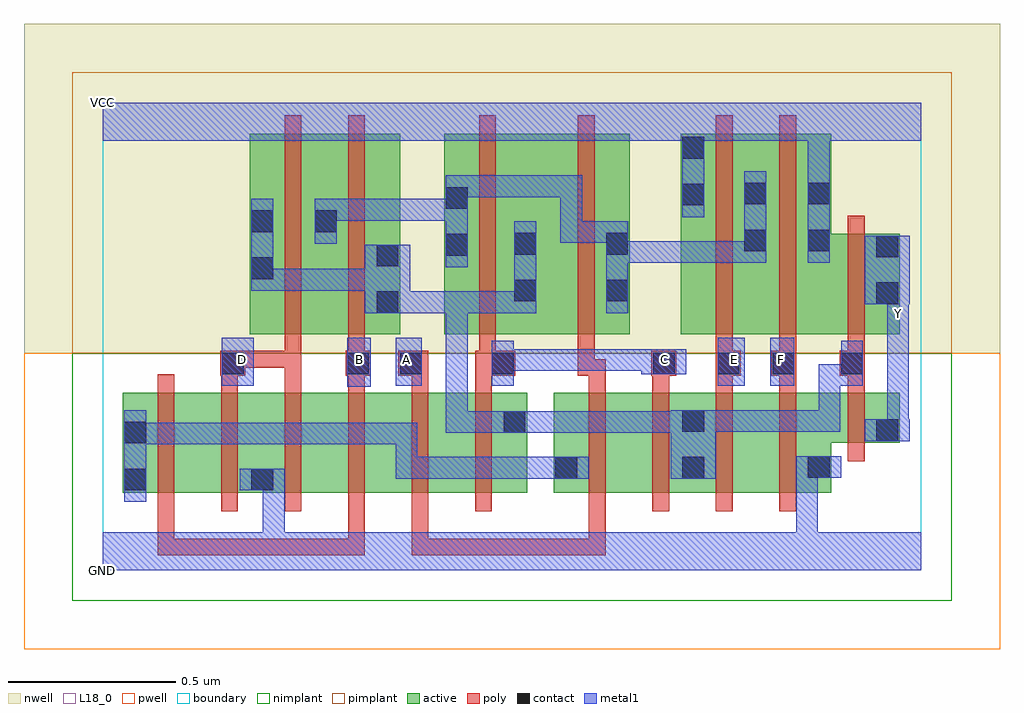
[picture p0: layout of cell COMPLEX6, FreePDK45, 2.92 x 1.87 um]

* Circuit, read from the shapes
.subckt COMPLEX6 A B C D E F GND VCC Y
M1 n1 B n2 VSUBS nfet w=0.3u l=0.05u
M2 GND D n1 VSUBS nfet w=0.3u l=0.05u
M3 n3 D GND VSUBS nfet w=0.3u l=0.05u
M4 n4 B n3 VSUBS nfet w=0.3u l=0.05u
M5 n5 A n4 VSUBS nfet w=0.3u l=0.05u
M6 n6 C n5 VSUBS nfet w=0.3u l=0.05u
M7 n7 A n2 VSUBS nfet w=0.3u l=0.05u
M8 n6 C n7 VSUBS nfet w=0.3u l=0.05u
M9 n8 E n6 VSUBS nfet w=0.3u l=0.05u
M10 GND F n8 VSUBS nfet w=0.3u l=0.05u
M11 Y n6 GND VSUBS nfet w=0.15u l=0.05u
M12 n9 D n6 n10 pfet w=0.6u l=0.05u
M13 n6 B n9 n10 pfet w=0.6u l=0.05u
M14 n6 C n9 n10 pfet w=0.6u l=0.05u
M15 n9 A n6 n10 pfet w=0.6u l=0.05u
M16 n9 E VCC n10 pfet w=0.6u l=0.05u
M17 VCC F n9 n10 pfet w=0.6u l=0.05u
M18 Y n6 VCC n10 pfet w=0.3u l=0.05u
.ends

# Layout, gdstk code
import gdstk
lib = gdstk.Library(unit=1e-6, precision=1e-09)
def R(c, l, rs):  # rectangles x0, y0, x1, y1
    for r in rs: c.add(gdstk.rectangle(r[:2], r[2:], *l))
def A(c, l, x, y, w, h, nx, ny, dx, dy):  # array of equal rectangles
    R(c, l, [(x+i*dx, y+j*dy, x+i*dx+w, y+j*dy+h) for i in range(nx) for j in range(ny)])
active = (1, 0)
pwell = (2, 0)
nwell = (3, 0)
nimplant = (4, 0)
pimplant = (5, 0)
poly = (9, 0)
contact = (10, 0)
metal1 = (11, 0)
L18_0 = (18, 0)
boundary = (235, 0)

complex6 = lib.new_cell('COMPLEX6')
R(complex6, active, [(0.06,0.232,0.285,0.532), (0.06,0.232,0.135,0.532), (0.285,0.232,0.515,0.532), (0.44,0.232,0.665,0.532), (0.44,0.232,0.515,0.517), (0.665,0.232,0.855,0.532), (0.855,0.232,1.045,0.532), (1.045,0.232,1.27,0.532), (1.35,0.232,1.575,0.532), (1.575,0.232,1.805,0.532), (1.73,0.232,1.955,0.532), (1.955,0.232,2.18,0.532), (2.105,0.232,2.18,0.382), (1.35,0.257,1.425,0.532), (1.73,0.27,1.805,0.532), (1.195,0.295,1.27,0.532), (2.105,0.382,2.385,0.532), (2.31,0.382,2.385,0.532), (0.44,0.707,0.705,1.307), (0.44,0.707,0.515,1.2), (0.63,0.707,0.705,1.2), (0.63,0.707,0.89,1.307), (0.815,0.707,0.89,1.07), (1.022,0.707,1.097,1.2), (1.022,0.707,1.302,1.307), (1.227,0.707,1.577,1.307), (1.227,0.707,1.302,1.07), (1.502,0.707,1.577,1.2), (1.73,0.707,1.805,1.307), (1.73,0.707,1.99,1.307), (1.915,0.707,2.18,1.307), (1.915,0.707,1.99,1.2), (2.105,0.707,2.385,1.007), (2.105,0.707,2.18,1.307), (2.31,0.707,2.385,1.007)])
R(complex6, pwell, [(-0.235,-0.235,2.685,0.65)])
R(complex6, nwell, [(-0.235,0.65,2.685,1.635)])
R(complex6, nimplant, [(-0.09,-0.09,2.54,0.65)])
R(complex6, pimplant, [(-0.09,0.65,2.54,1.49)])
A(complex6, poly, 0.165, 0.177, 0.05, 0.41, 6, 1, 0.19, 0)
A(complex6, poly, 1.455, 0.177, 0.05, 0.41, 4, 1, 0.19, 0)
A(complex6, poly, 0.735, 0.537, 0.05, 0.095, 3, 1, 0.19, 0)
A(complex6, poly, 1.455, 0.537, 0.05, 0.095, 4, 1, 0.19, 0)
R(complex6, poly, [(0.165,0.045,0.215,0.227), (0.165,0.045,0.215,0.095), (0.165,0.045,0.215,0.095), (0.165,0.045,0.215,0.095), (0.165,0.045,0.427,0.095), (0.377,0.045,0.427,0.095), (0.377,0.045,0.56,0.095), (0.51,0.045,0.56,0.095), (0.51,0.045,0.56,0.095), (0.51,0.045,0.56,0.095), (0.51,0.045,0.785,0.095), (0.735,0.045,0.785,0.227), (0.735,0.045,0.785,0.095), (0.735,0.045,0.785,0.095), (0.735,0.045,0.785,0.095), (0.925,0.045,0.975,0.227), (0.925,0.045,0.975,0.095), (0.925,0.045,1.107,0.095), (1.057,0.045,1.107,0.095), (1.057,0.045,1.107,0.095), (1.057,0.045,1.107,0.095), (1.057,0.045,1.24,0.095), (1.19,0.045,1.24,0.095), (1.19,0.045,1.505,0.095), (1.455,0.045,1.505,0.227), (1.455,0.045,1.505,0.095), (1.455,0.045,1.505,0.095), (1.455,0.045,1.505,0.095), (2.23,0.327,2.28,0.587), (0.355,0.537,0.405,0.632), (0.545,0.537,0.595,0.657), (2.23,0.537,2.28,0.632), (0.352,0.582,0.427,0.657), (0.727,0.582,0.802,0.657), (0.885,0.582,0.975,0.657), (1.115,0.582,1.235,0.657), (1.422,0.582,1.472,0.702), (1.422,0.582,1.505,0.632), (1.642,0.582,1.717,0.657), (1.835,0.582,1.91,0.657), (2,0.582,2.075,0.657), (2.205,0.582,2.28,0.657), (0.377,0.607,0.595,0.657), (0.545,0.607,0.595,0.702), (0.545,0.607,0.595,0.657), (0.545,0.607,0.595,0.657), (0.545,0.607,0.595,0.657), (0.735,0.607,0.785,0.702), (1.127,0.607,1.177,0.702), (1.835,0.607,1.885,0.702), (2.025,0.607,2.075,0.702), (2.23,0.607,2.28,0.702), (0.545,0.652,0.595,1.362), (0.735,0.652,0.785,1.362), (1.127,0.652,1.177,1.362), (1.422,0.652,1.472,1.362), (1.835,0.652,1.885,1.362), (2.025,0.652,2.075,1.362), (2.23,0.652,2.28,1.062)])
R(complex6, contact, [(0.065,0.24,0.13,0.305), (0.445,0.24,0.51,0.305), (1.355,0.275,1.42,0.34), (1.735,0.275,1.8,0.34), (2.11,0.277,2.175,0.342), (0.065,0.38,0.13,0.445), (2.315,0.387,2.38,0.452), (1.2,0.412,1.265,0.477), (1.735,0.415,1.8,0.48), (0.357,0.587,0.422,0.652), (0.732,0.587,0.797,0.652), (0.89,0.587,0.955,0.652), (1.165,0.587,1.23,0.652), (1.647,0.587,1.712,0.652), (1.84,0.587,1.905,0.652), (2.005,0.587,2.07,0.652), (2.21,0.587,2.275,0.652), (0.82,0.77,0.885,0.835), (2.315,0.797,2.38,0.862), (1.232,0.805,1.297,0.87), (1.507,0.805,1.572,0.87), (0.445,0.872,0.51,0.937), (0.82,0.91,0.885,0.975), (2.315,0.937,2.38,1.002), (1.027,0.942,1.092,1.007), (1.232,0.945,1.297,1.01), (1.507,0.945,1.572,1.01), (1.92,0.955,1.985,1.02), (2.11,0.955,2.175,1.02), (0.445,1.012,0.51,1.077), (0.635,1.012,0.7,1.077), (1.027,1.082,1.092,1.147), (1.735,1.092,1.8,1.157), (1.92,1.095,1.985,1.16), (2.11,1.095,2.175,1.16), (1.735,1.232,1.8,1.297)])
R(complex6, metal1, [(0,0,2.45,0.115), (0.48,0.05,0.545,0.305), (2.075,0.05,2.14,0.342), (0.065,0.205,0.13,0.48), (0.41,0.24,0.545,0.305), (0.48,0.24,0.545,0.305), (0.48,0.24,0.545,0.305), (0.877,0.275,0.942,0.34), (0.877,0.275,1.092,0.34), (0.877,0.275,0.942,0.442), (1.027,0.275,1.092,0.34), (1.027,0.275,1.092,0.34), (1.027,0.275,1.092,0.34), (1.027,0.275,1.23,0.34), (1.165,0.275,1.23,0.34), (1.165,0.275,1.23,0.34), (1.165,0.275,1.23,0.34), (1.165,0.275,1.385,0.34), (1.32,0.275,1.455,0.34), (1.7,0.275,1.835,0.48), (2.075,0.277,2.21,0.342), (2.075,0.277,2.14,0.342), (2.075,0.277,2.14,0.342), (0.065,0.377,0.13,0.442), (0.065,0.377,0.13,0.442), (0.065,0.377,0.27,0.442), (0.205,0.377,0.27,0.442), (0.205,0.377,0.407,0.442), (0.342,0.377,0.407,0.442), (0.342,0.377,0.407,0.442), (0.342,0.377,0.407,0.442), (0.342,0.377,0.66,0.442), (0.595,0.377,0.66,0.442), (0.595,0.377,0.66,0.442), (0.595,0.377,0.66,0.442), (0.595,0.377,0.805,0.442), (0.74,0.377,0.805,0.442), (0.74,0.377,0.942,0.442), (0.877,0.377,0.942,0.442), (2.28,0.387,2.415,0.452), (2.347,0.387,2.412,0.767), (1.027,0.412,1.092,0.477), (1.027,0.412,1.092,0.477), (1.027,0.412,1.092,0.477), (1.027,0.412,1.23,0.477), (1.027,0.412,1.092,0.835), (1.165,0.412,1.3,0.477), (1.165,0.412,1.23,0.477), (1.165,0.412,1.23,0.477), (1.235,0.412,1.435,0.477), (1.37,0.412,1.435,0.477), (1.37,0.412,1.437,0.477), (1.372,0.412,1.437,0.477), (1.372,0.412,1.575,0.477), (1.51,0.412,1.575,0.477), (1.51,0.412,1.575,0.477), (1.51,0.412,1.575,0.477), (1.51,0.412,1.765,0.477), (1.77,0.415,1.85,0.48), (1.785,0.415,1.85,0.48), (1.785,0.415,2.002,0.48), (1.937,0.415,2.002,0.48), (1.937,0.415,2.002,0.48), (1.937,0.415,2.002,0.48), (1.937,0.415,2.207,0.48), (2.142,0.415,2.207,0.617), (2.142,0.415,2.207,0.48), (0.732,0.55,0.802,0.697), (0.357,0.552,0.452,0.697), (0.877,0.552,0.955,0.697), (1.165,0.552,1.23,0.687), (1.84,0.552,1.922,0.697), (1.997,0.552,2.07,0.697), (2.142,0.552,2.275,0.617), (2.142,0.552,2.207,0.617), (2.21,0.552,2.275,0.687), (1.612,0.587,1.747,0.662), (1.165,0.597,1.23,0.662), (1.165,0.597,1.23,0.662), (1.165,0.597,1.385,0.662), (1.32,0.597,1.385,0.662), (1.32,0.597,1.437,0.662), (1.372,0.597,1.437,0.662), (1.372,0.597,1.572,0.662), (1.507,0.597,1.572,0.662), (1.507,0.597,1.677,0.662), (2.347,0.702,2.412,0.837), (0.785,0.77,0.92,0.975), (0.855,0.77,1.092,0.835), (1.027,0.77,1.092,0.835), (1.027,0.77,1.092,0.835), (1.027,0.77,1.092,0.835), (1.027,0.77,1.23,0.835), (1.165,0.77,1.23,0.835), (1.165,0.77,1.297,0.835), (1.232,0.77,1.297,1.045), (1.507,0.77,1.572,1.045), (2.347,0.772,2.412,0.862), (2.28,0.797,2.415,1.002), (0.445,0.837,0.51,1.112), (0.445,0.837,0.647,0.902), (0.582,0.837,0.647,0.902), (0.582,0.837,0.647,0.902), (0.582,0.837,0.647,0.902), (0.582,0.837,0.805,0.902), (0.74,0.837,0.805,0.902), (0.74,0.837,0.85,0.902), (1.027,0.907,1.092,1.182), (1.507,0.92,1.712,0.985), (1.647,0.92,1.712,0.985), (1.647,0.92,1.712,0.985), (1.647,0.92,1.712,0.985), (1.647,0.92,1.85,0.985), (1.785,0.92,1.85,0.985), (1.785,0.92,1.985,0.985), (1.92,0.92,1.985,1.195), (2.11,0.92,2.175,1.195), (0.635,0.977,0.7,1.112), (1.37,0.98,1.435,1.182), (1.37,0.98,1.435,1.045), (1.37,0.98,1.437,1.045), (1.372,0.98,1.437,1.045), (1.372,0.98,1.572,1.045), (0.635,1.047,0.805,1.112), (0.74,1.047,0.805,1.112), (0.74,1.047,0.942,1.112), (0.877,1.047,0.942,1.112), (0.877,1.047,0.942,1.112), (0.877,1.047,0.942,1.112), (0.877,1.047,1.092,1.112), (1.735,1.057,1.8,1.332), (1.027,1.117,1.247,1.182), (1.182,1.117,1.247,1.182), (1.182,1.117,1.247,1.182), (1.182,1.117,1.247,1.182), (1.182,1.117,1.435,1.182), (1.37,1.117,1.435,1.182), (2.11,1.13,2.175,1.35), (1.735,1.267,1.8,1.35), (0,1.285,2.45,1.4)])
R(complex6, L18_0, [(0,0,2.45,0.115), (0.48,0.05,0.545,0.305), (2.075,0.05,2.14,0.342), (0.41,0.24,0.545,0.305), (0.48,0.24,0.545,0.305), (0.48,0.24,0.545,0.305), (2.075,0.277,2.14,0.342), (2.075,0.277,2.14,0.342), (2.075,0.277,2.21,0.342), (2.28,0.387,2.415,0.452), (2.347,0.387,2.412,0.767), (0.732,0.55,0.802,0.697), (0.357,0.552,0.452,0.697), (0.877,0.552,0.955,0.697), (1.165,0.552,1.23,0.687), (1.84,0.552,1.922,0.697), (1.997,0.552,2.07,0.697), (1.612,0.587,1.747,0.662), (0.387,0.597,0.452,0.662), (0.737,0.597,0.802,0.662), (0.877,0.597,0.942,0.662), (1.165,0.597,1.23,0.662), (1.165,0.597,1.23,0.662), (1.165,0.597,1.385,0.662), (1.32,0.597,1.385,0.662), (1.32,0.597,1.437,0.662), (1.372,0.597,1.437,0.662), (1.372,0.597,1.572,0.662), (1.507,0.597,1.572,0.662), (1.507,0.597,1.677,0.662), (1.647,0.597,1.712,0.662), (1.857,0.597,1.922,0.662), (1.997,0.597,2.062,0.662), (2.347,0.702,2.412,0.837), (2.347,0.737,2.412,0.802), (2.347,0.772,2.412,0.862), (2.28,0.797,2.415,1.002), (2.11,0.92,2.175,1.195), (1.735,1.057,1.8,1.332), (2.11,1.13,2.175,1.35), (1.735,1.267,1.8,1.35), (0,1.285,2.45,1.4)])
R(complex6, boundary, [(0,0,2.45,1.4)])
complex6.add(gdstk.Label('A', (0.91,0.63), layer=11, texttype=0))
complex6.add(gdstk.Label('B', (0.77,0.63), layer=11, texttype=0))
complex6.add(gdstk.Label('C', (1.68,0.63), layer=11, texttype=0))
complex6.add(gdstk.Label('D', (0.42,0.63), layer=11, texttype=0))
complex6.add(gdstk.Label('E', (1.89,0.63), layer=11, texttype=0))
complex6.add(gdstk.Label('F', (2.03,0.63), layer=11, texttype=0))
complex6.add(gdstk.Label('Y', (2.38,0.77), layer=11, texttype=0))
complex6.add(gdstk.Label('VCC', (0,1.4), layer=11, texttype=0))
complex6.add(gdstk.Label('GND', (0,0), layer=11, texttype=0))

lib.write_gds('COMPLEX6.gds')
